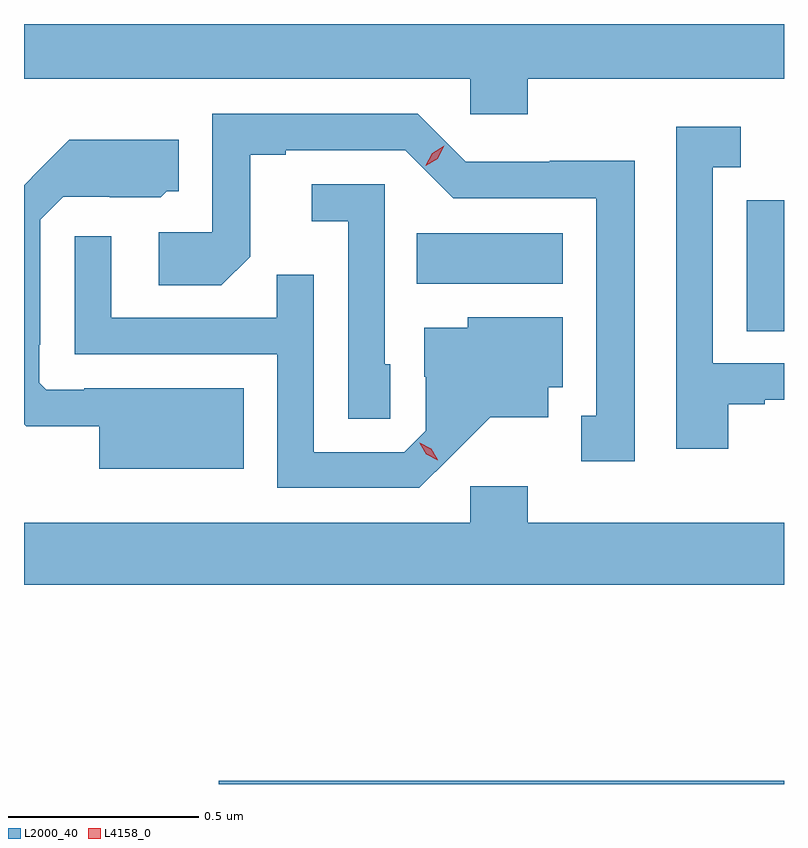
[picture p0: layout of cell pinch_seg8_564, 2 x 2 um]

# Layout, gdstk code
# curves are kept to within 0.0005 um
import gdstk
lib = gdstk.Library(unit=1e-6, precision=1e-09)
def R(c, l, rs):  # rectangles x0, y0, x1, y1
    for r in rs: c.add(gdstk.rectangle(r[:2], r[2:], *l))
def P(c, l, *ps):  # polygons
    for p in ps: c.add(gdstk.Polygon(p, *l))
L2000_40 = (2000, 40)
L4158_0 = (4158, 0)

pinch_seg8_564 = lib.new_cell('pinch_seg8_564')
R(pinch_seg8_564, L2000_40, [(142.397,1105.32,143.884,1105.328), (143.786,1106.512,143.884,1106.856), (142.918,1106.636,143.302,1106.77)])
P(pinch_seg8_564, L2000_40, [(143.21,1107.176),(143.884,1107.176),(143.884,1107.32),(141.884,1107.32),(141.884,1107.176),(143.058,1107.176),(143.058,1107.083),(143.21,1107.083)],
  [(143.491,1106.96),(143.268,1106.96),(143.268,1106.958),(143.046,1106.958),(142.92,1107.084),(142.38,1107.084),(142.38,1106.772),(142.239,1106.772),(142.239,1106.632),(142.403,1106.632),(142.479,1106.708),(142.479,1106.976),(142.573,1106.976),(142.573,1106.988),(142.887,1106.988),(143.013,1106.862),(143.39,1106.862),(143.39,1106.289),(143.351,1106.289),(143.351,1106.169),(143.491,1106.169)],
  [(143.737,1106.319),(143.833,1106.319),(143.833,1106.331),(143.884,1106.331),(143.884,1106.427),(143.697,1106.427),(143.697,1106.943),(143.77,1106.943),(143.77,1107.049),(143.601,1107.049),(143.601,1106.202),(143.737,1106.202)],
  [(142.462,1106.362),(142.042,1106.362),(142.042,1106.358),(141.942,1106.358),(141.924,1106.376),(141.924,1106.476),(141.927,1106.476),(141.927,1106.805),(141.987,1106.865),(142.11,1106.865),(142.11,1106.864),(142.244,1106.864),(142.26,1106.88),(142.291,1106.88),(142.291,1107.016),(142.003,1107.016),(141.884,1106.896),(141.884,1106.267),(141.89,1106.261),(142.082,1106.261),(142.082,1106.15),(142.462,1106.15)],
  [(142.848,1106.424),(142.833,1106.424),(142.833,1106.898),(142.641,1106.898),(142.641,1106.801),(142.737,1106.801),(142.737,1106.281),(142.848,1106.281)],
  [(143.008,1106.183),(143.111,1106.285),(143.263,1106.285),(143.263,1106.364),(143.302,1106.364),(143.302,1106.548),(143.052,1106.548),(143.052,1106.521),(142.937,1106.521),(142.937,1106.392),(142.941,1106.392),(142.941,1106.25),(142.884,1106.193),(142.647,1106.193),(142.647,1106.66),(142.549,1106.66),(142.549,1106.547),(142.113,1106.547),(142.113,1106.761),(142.017,1106.761),(142.017,1106.451),(142.551,1106.451),(142.551,1106.1),(142.924,1106.1)],
  [(143.884,1106.008),(143.21,1106.008),(143.21,1106.104),(143.058,1106.104),(143.058,1106.008),(141.884,1106.008),(141.884,1105.844),(143.884,1105.844)])
P(pinch_seg8_564, L4158_0, [(142.941,1106.947),(142.941,1106.948),(142.958,1106.98),(142.99,1106.999),(142.99,1106.999),(142.99,1106.999),(142.973,1106.966),(142.941,1106.947)],
  [(142.973,1106.172),(142.942,1106.188),(142.925,1106.217),(142.925,1106.218),(142.925,1106.218),(142.956,1106.202),(142.973,1106.173),(142.973,1106.172)])

lib.write_gds('pinch_seg8_564.gds')
